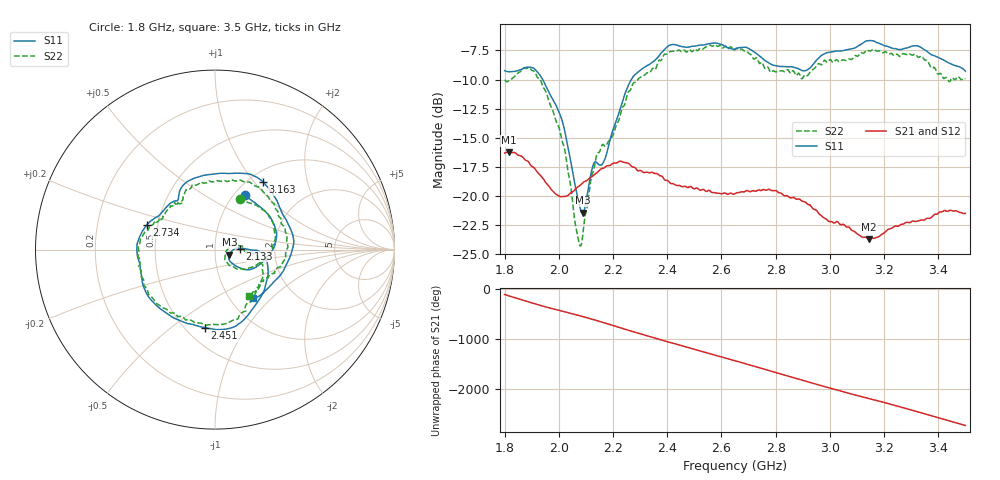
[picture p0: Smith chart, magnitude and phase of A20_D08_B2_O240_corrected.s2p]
! Created with skrf 1.9.0 (http://scikit-rf.org).
# Hz S RI R 50.0
!freq ReS11 ImS11 ReS21 ImS21 ReS12 ImS12 ReS22 ImS22
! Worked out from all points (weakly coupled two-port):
!   1601 points, 1.8 GHz to 3.5 GHz, reference 50 ohm
!   highest |S21| = -16.25 dB at 1.816 GHz (marker M1); lowest = -23.7 dB at 3.144 GHz (marker M2)
!   lowest |S11| = -21.5 dB at 2.089 GHz (marker M3), VSWR 1.18, Z = 58.6 - j3.3 ohm
!   |S11| at or under -10 dB: 1.941 GHz to 2.267 GHz (326.8 MHz wide, 15.5 % of centre)
!   |S22| runs from -24.3 to -7.0 dB; largest |S21 - S12| = 0.0029
!   S11 on the Smith chart (normalised r, x): 1.8 GHz: 1.12, +0.77; 2.133 GHz: 1.32, +0.01; 2.451 GHz: 0.62, -0.67; 2.734 GHz: 0.43, +0.14; 3.163 GHz: 1.16, +1.11; 3.5 GHz: 1.26, -0.78
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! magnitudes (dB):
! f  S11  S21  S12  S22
! 1.8 GHz  -9.2  -16.3  -16.3  -10.0
! 1.816 GHz  -9.3  -16.3  -16.3  -10.1
! 1.889 GHz  -8.9  -17.1  -17.2  -9.0
! 1.949 GHz  -10.4  -18.8  -18.8  -10.9
! 2.013 GHz  -13.6  -20.1  -20.1  -15.3
! 2.067 GHz  -19.9  -19.3  -19.3  -23.2
! 2.084 GHz  -21.4  -19.0  -19.0  -24.1
! 2.089 GHz  -21.5  -18.9  -18.9  -23.2
! 2.133 GHz  -17.1  -18.2  -18.1  -17.3
! 2.168 GHz  -17.0  -17.6  -17.6  -15.7
! 2.269 GHz  -10.0  -17.5  -17.4  -10.7
! 2.367 GHz  -8.0  -18.2  -18.1  -8.4
! 2.451 GHz  -7.2  -19.2  -19.2  -7.6
! 2.65 GHz  -7.4  -19.8  -19.8  -7.4
! 2.734 GHz  -7.9  -19.5  -19.5  -8.3
! 2.934 GHz  -8.8  -21.0  -21.0  -9.2
! 3.144 GHz  -6.7  -23.7  -23.6  -7.5
! 3.163 GHz  -6.7  -23.7  -23.6  -7.4
! 3.217 GHz  -7.2  -22.9  -22.8  -7.8
! 3.327 GHz  -7.1  -22.2  -22.1  -8.1
! 3.437 GHz  -8.6  -21.3  -21.3  -10.1
! 3.5 GHz  -9.3  -21.5  -21.5  -9.9
